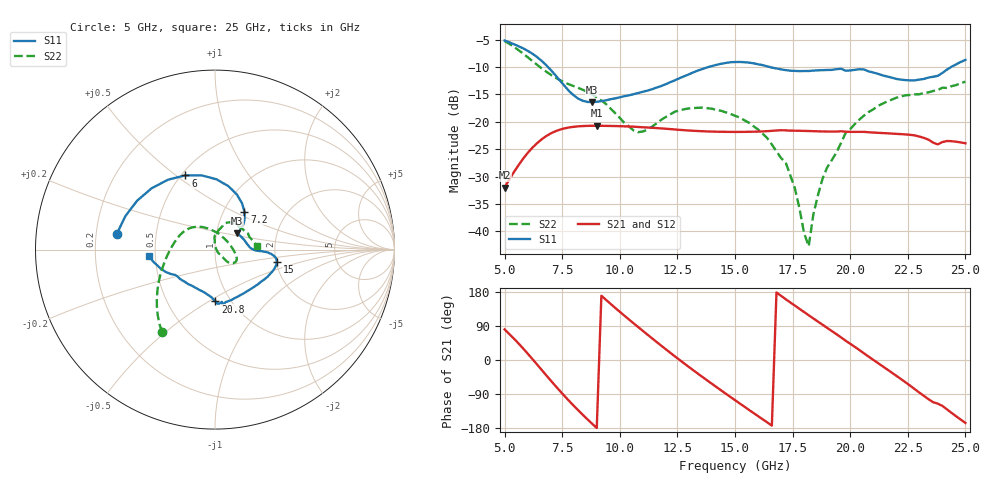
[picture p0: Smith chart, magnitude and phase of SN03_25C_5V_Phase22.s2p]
!File name = SN03_25C_5V_Phase22.s2p
!Date = 2/3/2014
!Time = 2:35 PM
!Test duration(min) = 0.07
!Test = SPars
!MPTS version = 7.120.8
!Comments =
!set_LD1(binary) = 22
!set_LD2(binary) = 524265
!test = SPars
!date_code = 20140203
!file_name = SN03_25C_5V_Phase22.s2p
!VREF(V) = 5.000
!VREF(mA) = 0.003
# GHz  S  DB  R  50
!%	Freq(GHz)  S11(dB)  S11(deg)  S21(dB)  S21(deg)  S12(dB)  S12(deg)  S22(dB)  S22(deg)
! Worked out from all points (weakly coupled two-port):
!   101 points, 5 GHz to 25 GHz, reference 50 ohm
!   highest |S21| = -20.73 dB at 9 GHz (marker M1); lowest = -32.0 dB at 5 GHz (marker M2)
!   lowest |S11| = -16.4 dB at 8.8 GHz (marker M3), VSWR 1.36, Z = 62.6 + j11.6 ohm
!   |S11| at or under -10 dB: 6.885 GHz to 13.84 GHz (6.953 GHz wide, 67.1 % of centre); 16.51 GHz to 24.38 GHz (7.861 GHz wide, 38.5 % of centre)
!   |S22| runs from -42.7 to -5.2 dB; largest |S21 - S12| = 0.00041
!   S11 on the Smith chart (normalised r, x): 5 GHz: 0.29, +0.07; 6 GHz: 0.52, +0.54; 7.2 GHz: 1.25, +0.57; 15 GHz: 2.02, -0.32; 20.8 GHz: 0.85, -0.54; 25 GHz: 0.46, -0.04
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5  -5.14 170.7  -32.00 80.6  -32.02 80.6  -5.24 -122.7
6  -7.03 111.8  -25.68 17.0  -25.70 17.0  -8.19 -145.3
6.6  -8.84 78.2  -23.23 -25.4  -23.25 -25.4  -10.21 -161.1
7.2  -11.45 52.1  -21.73 -67.9  -21.77 -67.8  -11.93 -178.3
8.4  -16.16 37.4  -20.77 -145.1  -20.80 -144.9  -14.15 146.7
8.8  -16.41 36.8  -20.73 -168.2  -20.75 -168.1  -14.99 136.2
9  -16.34 35.5  -20.73 -179.4  -20.75 -179.3  -15.52 131.1
10.8  -14.74 8.9  -20.94 86.8  -20.95 86.8  -21.89 48.7
11.8  -13.46 0.2  -21.21 37.8  -21.22 37.8  -19.64 -2.6
13.2  -10.95 -2.7  -21.64 -27.5  -21.64 -27.6  -17.48 -25.7
15  -9.08 -11.4  -21.84 -105.9  -21.84 -106.0  -18.89 -40.9
16.2  -9.64 -27.4  -21.75 -156.4  -21.77 -156.3  -22.15 -45.0
17.2  -10.55 -47.5  -21.56 160.4  -21.57 160.5  -27.42 -43.6
17.6  -10.70 -55.9  -21.62 143.5  -21.64 143.5  -32.17 -44.1
18.2  -10.71 -67.0  -21.68 118.1  -21.70 118.1  -42.72 47.9
18.4  -10.64 -70.1  -21.71 109.7  -21.73 109.7  -36.93 76.4
18.8  -10.57 -74.9  -21.76 93.0  -21.77 93.1  -30.39 88.8
19.8  -10.65 -82.9  -21.80 51.0  -21.81 51.1  -22.04 90.2
20.8  -10.78 -89.5  -21.90 8.9  -21.91 9.0  -18.21 75.3
21.8  -11.92 -99.9  -22.15 -33.1  -22.16 -33.1  -15.96 68.0
23.8  -11.60 -147.6  -24.13 -115.1  -24.14 -115.0  -14.19 31.6
25  -8.70 -174.7  -23.92 -166.2  -23.94 -166.2  -12.67 5.0
